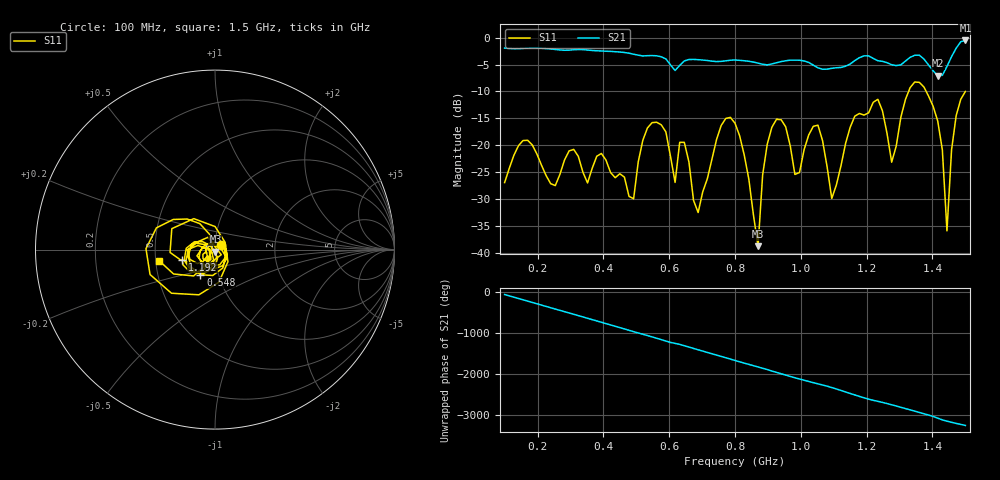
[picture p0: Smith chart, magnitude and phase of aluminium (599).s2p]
! NanoVNA-App
! Date: 2025-09-25 14:59:56
! Start: 100MHz Stop: 1,5GHz Points: 101
! S-Parameter data: F S11 S21 S12 S22
# Hz S RI R 50
!  Frequency  S11_Real  S11_Imag  S21_Real  S21_Imag  S12_Real  S12_Imag  S22_Real  S22_Imag
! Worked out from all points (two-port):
!   101 points, 100 MHz to 1.5 GHz, reference 50 ohm
!   highest |S21| = -0.50 dB at 1.5 GHz (marker M1); lowest = -7.1 dB at 1.416 GHz (marker M2)
!   |S21| within 3 dB of the highest: start of sweep to 573 MHz; 1.458 GHz to end of sweep (the widest 2 of 4)
!   lowest |S11| = -38.8 dB at 870 MHz (marker M3), VSWR 1.02, Z = 50.2 - j1.13 ohm
!   |S11| at or under -10 dB: start of sweep to 1.327 GHz; 1.381 GHz to 1.5 GHz (118.9 MHz wide, 8.26 % of centre)
!   S12 and S22 are empty: the file has one direction only
!   S11 on the Smith chart (normalised r, x): 100 MHz: 1.07, +0.06; 548 MHz: 0.82, -0.24; 1.192 GHz: 0.69, -0.08; 1.5 GHz: 0.52, -0.07
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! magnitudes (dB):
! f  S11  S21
! 100 MHz  -27.0  -1.9
! 156 MHz  -19.1  -2.0
! 338 MHz  -25.0  -2.2
! 492 MHz  -29.9  -3.1
! 548 MHz  -15.8  -3.3
! 576 MHz  -16.2  -3.5
! 646 MHz  -19.5  -4.3
! 688 MHz  -32.5  -4.1
! 800 MHz  -15.9  -4.1
! 870 MHz  -38.8  -4.7
! 912 MHz  -16.7  -4.9
! 982 MHz  -25.4  -4.2
! 1.038 GHz  -16.5  -5.1
! 1.094 GHz  -29.9  -5.7
! 1.192 GHz  -14.4  -3.4
! 1.234 GHz  -11.5  -4.3
! 1.276 GHz  -23.2  -5.0
! 1.346 GHz  -8.2  -3.3
! 1.416 GHz  -15.5  -7.1
! 1.444 GHz  -35.9  -5.3
! 1.458 GHz  -20.9  -3.5
! 1.5 GHz  -10.0  -0.5
